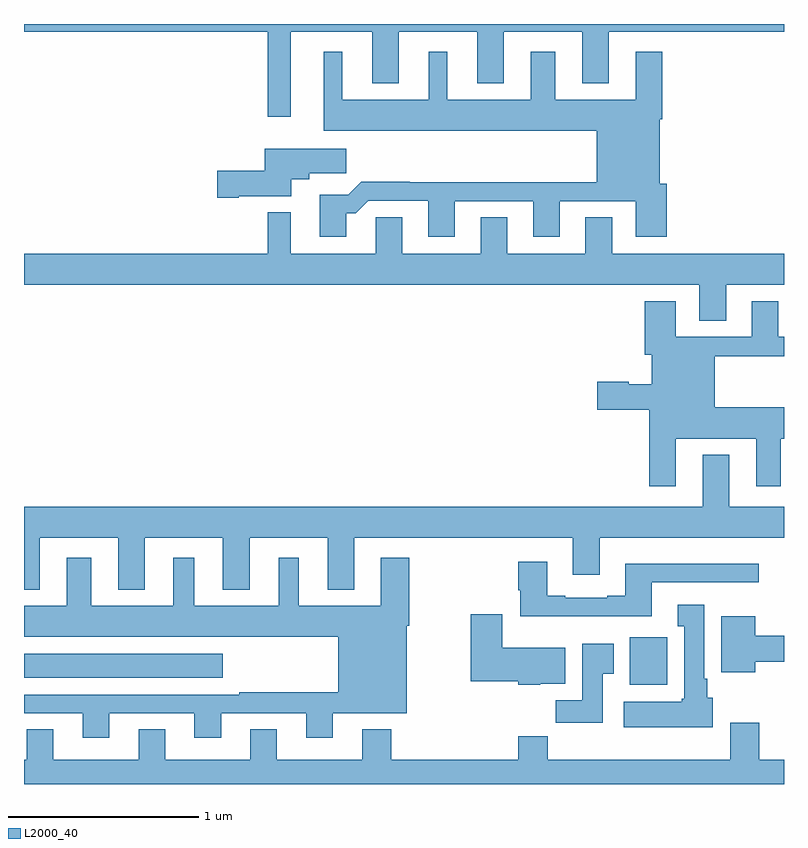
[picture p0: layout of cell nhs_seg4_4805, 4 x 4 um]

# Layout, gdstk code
import gdstk
lib = gdstk.Library(unit=1e-6, precision=1e-09)
def R(c, l, rs):  # rectangles x0, y0, x1, y1
    for r in rs: c.add(gdstk.rectangle(r[:2], r[2:], *l))
def P(c, l, *ps):  # polygons
    for p in ps: c.add(gdstk.Polygon(p, *l))
L2000_40 = (2000, 40)

nhs_seg4_4805 = lib.new_cell('nhs_seg4_4805')
R(nhs_seg4_4805, L2000_40, [(374.189,753.422,374.385,753.673), (371,753.458,372.046,753.586)])
P(nhs_seg4_4805, L2000_40, [(372.403,756.86),(372.833,756.86),(372.833,756.587),(372.973,756.587),(372.973,756.86),(373.385,756.86),(373.385,756.587),(373.525,756.587),(373.525,756.86),(373.937,756.86),(373.937,756.587),(374.077,756.587),(374.077,756.86),(375,756.86),(375,756.9),(371,756.9),(371,756.86),(372.282,756.86),(372.282,756.411),(372.403,756.411)],
  [(372.697,755.903),(372.746,755.903),(372.813,755.97),(373.127,755.97),(373.127,755.781),(373.267,755.781),(373.267,755.967),(373.679,755.967),(373.679,755.781),(373.819,755.781),(373.819,755.967),(374.219,755.967),(374.219,755.781),(374.384,755.781),(374.384,756.06),(374.347,756.06),(374.347,756.398),(374.36,756.398),(374.36,756.754),(374.219,756.754),(374.219,756.502),(373.795,756.502),(373.795,756.754),(373.667,756.754),(373.667,756.502),(373.228,756.502),(373.228,756.754),(373.13,756.754),(373.13,756.502),(372.676,756.502),(372.676,756.754),(372.578,756.754),(372.578,756.338),(374.015,756.338),(374.015,756.068),(373.031,756.068),(373.031,756.071),(372.776,756.071),(372.706,756.001),(372.557,756.001),(372.557,755.781),(372.697,755.781)],
  [(372.13,755.993),(372.406,755.993),(372.406,756.083),(372.502,756.083),(372.502,756.115),(372.697,756.115),(372.697,756.244),(372.266,756.244),(372.266,756.128),(372.018,756.128),(372.018,755.986),(372.13,755.986)],
  [(374.695,755.528),(375,755.528),(375,755.692),(374.095,755.692),(374.095,755.882),(373.955,755.882),(373.955,755.692),(373.543,755.692),(373.543,755.882),(373.403,755.882),(373.403,755.692),(372.991,755.692),(372.991,755.882),(372.852,755.882),(372.852,755.692),(372.403,755.692),(372.403,755.908),(372.282,755.908),(372.282,755.692),(371,755.692),(371,755.528),(374.555,755.528),(374.555,755.338),(374.695,755.338)],
  [(374.431,754.718),(374.855,754.718),(374.855,754.467),(374.983,754.467),(374.983,754.718),(375,754.718),(375,754.882),(374.635,754.882),(374.635,755.152),(375,755.152),(375,755.253),(374.971,755.253),(374.971,755.44),(374.831,755.44),(374.831,755.253),(374.431,755.253),(374.431,755.44),(374.267,755.44),(374.267,755.16),(374.303,755.16),(374.303,755.005),(374.183,755.005),(374.183,755.018),(374.016,755.018),(374.016,754.871),(374.291,754.871),(374.291,754.467),(374.431,754.467)],
  [(371.083,754.196),(371.495,754.196),(371.495,753.923),(371.635,753.923),(371.635,754.196),(372.047,754.196),(372.047,753.923),(372.187,753.923),(372.187,754.196),(372.599,754.196),(372.599,753.923),(372.739,753.923),(372.739,754.196),(373.889,754.196),(373.889,754.002),(374.029,754.002),(374.029,754.196),(375,754.196),(375,754.36),(374.713,754.36),(374.713,754.633),(374.573,754.633),(374.573,754.36),(371,754.36),(371,753.923),(371.083,753.923)],
  [(371.449,753.273),(371.897,753.273),(371.897,753.144),(372.037,753.144),(372.037,753.273),(372.485,753.273),(372.485,753.144),(372.625,753.144),(372.625,753.272),(373.015,753.272),(373.015,753.734),(373.028,753.734),(373.028,754.09),(372.878,754.09),(372.878,753.838),(372.445,753.838),(372.445,754.09),(372.341,754.09),(372.341,753.838),(371.896,753.838),(371.896,754.09),(371.786,754.09),(371.786,753.838),(371.353,753.838),(371.353,754.09),(371.225,754.09),(371.225,753.838),(371,753.838),(371,753.674),(372.653,753.674),(372.653,753.382),(372.133,753.382),(372.133,753.369),(371,753.369),(371,753.273),(371.309,753.273),(371.309,753.144),(371.449,753.144)],
  [(374.305,753.963),(374.866,753.963),(374.866,754.06),(374.165,754.06),(374.165,753.892),(374.069,753.892),(374.069,753.879),(373.849,753.879),(373.849,753.892),(373.753,753.892),(373.753,754.069),(373.601,754.069),(373.601,753.921),(373.613,753.921),(373.613,753.782),(374.305,753.782)],
  [(374.626,753.354),(374.596,753.354),(374.596,753.454),(374.581,753.454),(374.581,753.844),(374.441,753.844),(374.441,753.731),(374.474,753.731),(374.474,753.348),(374.461,753.348),(374.461,753.334),(374.157,753.334),(374.157,753.2),(374.626,753.2)],
  [(373.716,753.428),(373.849,753.428),(373.849,753.616),(373.516,753.616),(373.516,753.793),(373.351,753.793),(373.351,753.44),(373.602,753.44),(373.602,753.422),(373.716,753.422)],
  [(374.848,753.544),(375,753.544),(375,753.68),(374.848,753.68),(374.848,753.784),(374.669,753.784),(374.669,753.488),(374.848,753.488)],
  [(374.047,753.481),(374.104,753.481),(374.104,753.637),(373.937,753.637),(373.937,753.34),(373.798,753.34),(373.798,753.222),(374.047,753.222)],
  [(374.717,753.223),(374.717,753.028),(373.757,753.028),(373.757,753.152),(373.601,753.152),(373.601,753.028),(372.932,753.028),(372.932,753.187),(372.779,753.187),(372.779,753.028),(372.331,753.028),(372.331,753.188),(372.191,753.188),(372.191,753.028),(371.743,753.028),(371.743,753.188),(371.603,753.188),(371.603,753.028),(371.155,753.028),(371.155,753.188),(371.015,753.188),(371.015,753.028),(371,753.028),(371,752.9),(375,752.9),(375,753.028),(374.87,753.028),(374.87,753.223)])

lib.write_gds('nhs_seg4_4805.gds')
